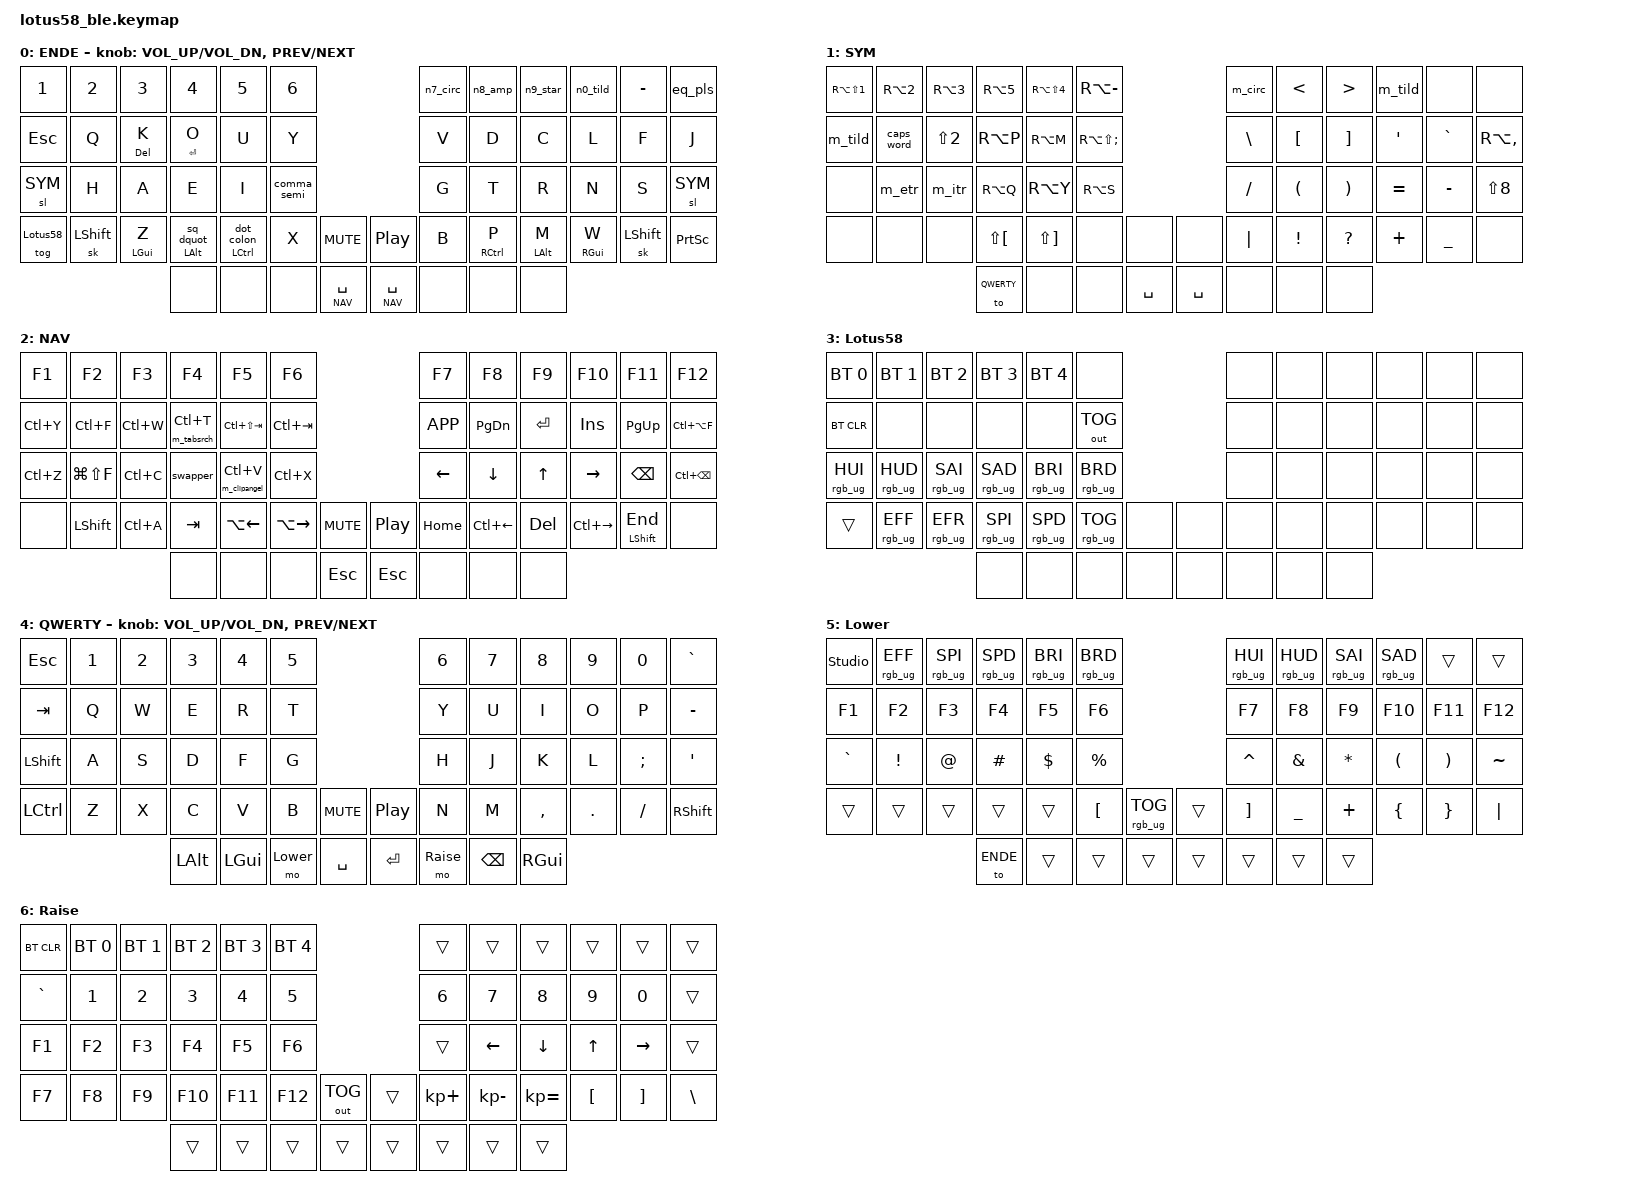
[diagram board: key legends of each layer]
// Copyright (c) 2026 Oscar Brandt
// SPDX-License-Identifier: MIT

#include <behaviors.dtsi>
#include <dt-bindings/zmk/keys.h>
#include <dt-bindings/zmk/bt.h> // Needed for Bluetooth keybinds.
#include <dt-bindings/zmk/rgb.h> // Needed for controlling the underglow LEDs.
#include <dt-bindings/zmk/outputs.h> // Needed to be able to switch between Bluetooth and USB for the output.

#define ENDE	0
#define SYM	1
#define NAV	2
#define Lotus58	3
#define QWERTY	4
#define Lower	5
#define Raise	6

#define HT_TERM   220
#define SPC_TERM  200

&sk {
    quick-release;
};

/*
&caps_word {
    continue-list = <UNDERSCORE MINUS>;
};
*/

/ {
	macros {
		m_sq: m_sq {
            		compatible = "zmk,behavior-macro";
            		#binding-cells = <0>;
            		wait-ms = <15>;
            		tap-ms = <10>;
            		bindings = <&kp SQT &kp SPACE>;
        	};

        	m_dquot: m_dquot {
            		compatible = "zmk,behavior-macro";
            		#binding-cells = <0>;
            		wait-ms = <15>;
            		tap-ms = <10>;
            		bindings = <&kp LS(SQT) &kp SPACE>;
        	};

        	m_etr: m_etr {
            		compatible = "zmk,behavior-macro";
            		#binding-cells = <0>;
            		wait-ms = <15>;
            		tap-ms = <10>;
            		bindings = <&kp LS(SQT) &kp E>;
        	};

        	m_etr_u: m_etr_u {
            		compatible = "zmk,behavior-macro";
            		#binding-cells = <0>;
            		wait-ms = <15>;
            		tap-ms = <10>;
            		bindings = <&kp LS(SQT) &kp LS(E)>;
        	};

		 m_itr: m_itr {
            		compatible = "zmk,behavior-macro";
            		#binding-cells = <0>;
            		wait-ms = <15>;
            		tap-ms = <10>;
            		bindings = <&kp LS(SQT) &kp I>;
        	};

        	m_itr_u: m_itr_u {
            		compatible = "zmk,behavior-macro";
            		#binding-cells = <0>;
            		wait-ms = <15>;
            		tap-ms = <10>;
            		bindings = <&kp LS(SQT) &kp LS(I)>;
        	};

        	m_circ: m_circ {
            		compatible = "zmk,behavior-macro";
            		#binding-cells = <0>;
            		wait-ms = <0>;
            		tap-ms = <10>;
            		bindings = <&kp LS(N6)>;
        	};

        	m_tild: m_tild {
            		compatible = "zmk,behavior-macro";
            		#binding-cells = <0>;
            		wait-ms = <0>;
            		tap-ms = <10>;
            		bindings = <&kp LS(GRAVE)>;
        	};

        	m_circ_lit: m_circ_lit {
            		compatible = "zmk,behavior-macro";
            		#binding-cells = <0>;
            		wait-ms = <15>;
            		tap-ms = <10>;
            		bindings = <&kp LS(N6) &kp SPACE>;
        	};

        	m_tild_lit: m_tild_lit {
            		compatible = "zmk,behavior-macro";
            		#binding-cells = <0>;
            		wait-ms = <15>;
            		tap-ms = <10>;
            		bindings = <&kp LS(GRAVE) &kp SPACE>;
        	};

        	m_tabsrch: m_tabsrch {
            		compatible = "zmk,behavior-macro";
            		#binding-cells = <0>;
            		wait-ms = <0>;
            		tap-ms = <10>;
            		bindings = <&kp LC(LS(A))>;
        	};

        	m_clipangel: m_clipangel {
            		compatible = "zmk,behavior-macro";
            		#binding-cells = <0>;
            		wait-ms = <0>;
            		tap-ms = <10>;
            		bindings = <&kp LC(LS(LA(V)))>;
        	};
	};

	behaviors {
		sq_dquot: sq_dquot {
            		compatible = "zmk,behavior-mod-morph";
            		#binding-cells = <0>;
            		bindings = <&m_sq>, <&m_dquot>;

            		mods = <(MOD_LSFT|MOD_RSFT)>;
        	};

        	spc_nav: spc_nav {
            		compatible = "zmk,behavior-hold-tap";
            		#binding-cells = <2>;
            		flavor = "hold-preferred";
            		tapping-term-ms = <SPC_TERM>;
            		bindings = <&mo>, <&kp>;
        	};

        	o_ret: o_ret {
            		compatible = "zmk,behavior-hold-tap";
            		#binding-cells = <2>;
            		flavor = "tap-preferred";
            		tapping-term-ms = <HT_TERM>;
            		bindings = <&kp>, <&kp>;
        	};

        	k_del: k_del {
            		compatible = "zmk,behavior-hold-tap";
            		#binding-cells = <2>;
            		flavor = "tap-preferred";
            		tapping-term-ms = <HT_TERM>;
            		bindings = <&kp>, <&kp>;
        	};

        	ht_qalt: ht_qalt {
            		compatible = "zmk,behavior-hold-tap";
            		#binding-cells = <2>;
            		flavor = "tap-preferred";
            		tapping-term-ms = <HT_TERM>;
            		bindings = <&kp>, <&sq_dquot>;
        	};

        	dot_ctl: dot_ctl {
            		compatible = "zmk,behavior-hold-tap";
            		#binding-cells = <2>;
            		flavor = "tap-preferred";
            		tapping-term-ms = <HT_TERM>;
            		bindings = <&kp>, <&dot_colon>;
        	};

        	end_sft: end_sft {
            		compatible = "zmk,behavior-hold-tap";
            		#binding-cells = <2>;
            		flavor = "tap-preferred";
            		tapping-term-ms = <HT_TERM>;
            		bindings = <&kp>, <&kp>;
        	};

        	mt_b: mt_b {
            		compatible = "zmk,behavior-hold-tap";
            		#binding-cells = <2>;
            		flavor = "balanced";
            		tapping-term-ms = <HT_TERM>;
            		bindings = <&kp>, <&kp>;
        	};

        	ht_newtab: ht_newtab {
            		compatible = "zmk,behavior-hold-tap";
            		#binding-cells = <2>;
            		flavor = "hold-preferred";
            		tapping-term-ms = <HT_TERM>;
            		bindings = <&m_tabsrch>, <&kp>;
        	};

        	ht_paste: ht_paste {
            		compatible = "zmk,behavior-hold-tap";
            		#binding-cells = <2>;
            		flavor = "hold-preferred";
            		tapping-term-ms = <HT_TERM>;
            		bindings = <&m_clipangel>, <&kp>;
        	};

        	n7_circ: n7_circ {
            		compatible = "zmk,behavior-mod-morph";
            		#binding-cells = <0>;
            		bindings = <&kp N7>, <&m_circ_lit>;

            		mods = <(MOD_LSFT|MOD_RSFT)>;
        	};

        	n0_tild: n0_tild {
            		compatible = "zmk,behavior-mod-morph";
            		#binding-cells = <0>;
            		bindings = <&kp N0>, <&m_tild_lit>;

            		mods = <(MOD_LSFT|MOD_RSFT)>;
        	};

        	// lt_hp: layer-tap, hold-preferred. The stock &lt behavior
        	// (app/dts/behaviors/layer_tap.dtsi) defaults to flavor =
        	// "tap-preferred", which only resolves to hold once the key has
        	// been held ALONE for the full tapping-term with nothing else
        	// pressed. That's the wrong flavor for "hold this key, then chord
        	// other keys while it's held" -- e.g. holding ESC to reach the
        	// mouse layer and immediately pressing a movement key -- since
        	// releasing before the term elapses (very easy to do) resolves as
        	// a bare tap, and the buffered keypress replays on whatever layer
        	// was active before, not the intended one. hold-preferred resolves
        	// to hold the moment another key is pressed, which is what this
        	// needs; it's the same flavor spc_nav already uses for the same
        	// kind of hold-a-key-then-chord pattern (SpaceFn -> NAV).

        	lt_hp: lt_hp {
        		compatible = "zmk,behavior-hold-tap";
        		#binding-cells = <2>;
        		flavor = "hold-preferred";
        		tapping-term-ms = <HT_TERM>;
        		bindings = <&mo>, <&kp>;
        	};

        	// mo_tog_hp: momentary-layer on hold, toggle-layer on tap. Takes two
        	// params (hold layer, tap layer) -- pass the same layer number for
        	// both, e.g. `&mo_tog_hp MOUSE_M MOUSE_M`, to get "hold for quick
        	// access, tap to latch it on". Same hold-preferred reasoning as
        	// lt_hp above: the point of holding this key is almost always to
        	// immediately chord it with another key on the target layer (e.g.
        	// hold + tap &mmv MOVE_LEFT), so hold must resolve the instant that
        	// second key is pressed rather than waiting out the full
        	// tapping-term alone. tap-preferred was considered and rejected for
        	// the same reason lt_hp isn't tap-preferred: it would swallow/
        	// misroute that chorded keypress on quick holds.

        	mo_tog_hp: mo_tog_hp {
        		compatible = "zmk,behavior-hold-tap";
        		#binding-cells = <2>;
        		flavor = "hold-preferred";
        		tapping-term-ms = <HT_TERM>;
        		bindings = <&mo>, <&tog>;
        	};

        	// comma_semi / dot_colon: same pattern, replacing ko_comma_semi /
        	// ko_dot_colon below. SEMI is a bare (unshifted) keycode, so masking
        	// the real Shift and sending it plain gives ";". COLON is already
        	// LS(SEMICOLON) -- confirmed directly from ZMK's keys.h -- so with
        	// the real Shift masked, its own embedded shift still gives ":".

        	comma_semi: comma_semi {
        		compatible = "zmk,behavior-mod-morph";
        		#binding-cells = <0>;
        		bindings = <&kp COMMA>, <&kp SEMI>;

        		mods = <(MOD_LSFT|MOD_RSFT)>;
        	};

        	dot_colon: dot_colon {
        		compatible = "zmk,behavior-mod-morph";
        		#binding-cells = <0>;
        		bindings = <&kp DOT>, <&kp COLON>;

        		mods = <(MOD_LSFT|MOD_RSFT)>;
        	};

        	// n8_amp / n9_star: same pattern as n7_circ / n0_tild above, bound
        	// directly at the key position instead of going through the
        	// key_overrides node. AMPS = LS(N7) and ASTRK = LS(N8) already carry
        	// their own explicit shift, so no macro/unlatch step is needed here
        	// the way it is for the dead-key circumflex/tilde.

        	n8_amp: n8_amp {
        		compatible = "zmk,behavior-mod-morph";
        		#binding-cells = <0>;
        		bindings = <&kp N8>, <&kp AMPS>;

        		mods = <(MOD_LSFT|MOD_RSFT)>;
		};

        	n9_star: n9_star {
        		compatible = "zmk,behavior-mod-morph";
        		#binding-cells = <0>;
        		bindings = <&kp N9>, <&kp ASTRK>;

        		mods = <(MOD_LSFT|MOD_RSFT)>;
        	};

        	// eq_pls: mirrors QMK's KC_EQL case. PLUS = LS(EQUAL) already carries
        	// its own shift, so unshifted taps correctly send "+". On a shifted
        	// tap the mod-morph masks the real Shift before invoking the second
        	// binding, so &kp EQUAL goes out bare -- i.e. "=" -- instead of
        	// stacking with the still-held physical Shift. ENDE-only, matching
        	// the QMK comment that this swap must not leak onto SYM/NAV.

        	eq_pls: eq_pls {
        		compatible = "zmk,behavior-mod-morph";
        		#binding-cells = <0>;
        		bindings = <&kp PLUS>, <&kp EQUAL>;

        		mods = <(MOD_LSFT|MOD_RSFT)>;
        	};

        	// swapper: real Alt-Tab, matching the Kanata (multi (layer-while-held
        	// navigation) + virtualkey alt) / (macro press-virtualkey alt ... tab)
        	// construct. Requires the zmk-tri-state module -- see the header
        	// comment at the top of this file for the west.yml entry needed.
        	// First tap: registers/holds Alt (via &kt, a toggle) and taps Tab.
        	// Each subsequent tap while still active: taps Tab only, Alt stays
        	// held throughout -- this is what keeps the Windows switcher open.
        	// The moment the NAV layer deactivates (i.e. Space is released),
        	// that layer change is what fires the third (interrupt) binding,
        	// which is &kt LALT again -- toggling Alt back off. No separate
        	// release-safety-net logic is needed the way QMK's
        	// layer_state_set_user had one: tri-state's own interrupt handling
        	// covers it.
        	// The configuration has been augmented to intercept and ignore the navigation
        	// layer and key positions 14, 16, 17, 30-33, and 40-41 so multi-key operations
        	// do not break the Alt state.

        	swapper: swapper {
        		compatible = "zmk,behavior-tri-state";
        		#binding-cells = <0>;
        		bindings = <&kt LALT>, <&kp TAB>, <&kt LALT>;

        		ignored-layers = <NAV>;
        		ignored-key-positions = <14 16 17 30 31 32 33 40 41>;
        	};
	};

	combos {
		compatible = "zmk,combos";

        	combo_dcl {
        		timeout-ms = <50>;
        		key-positions = <19 20 21>;
        		bindings = <&kp RET>;
        		layers = <0>;
        	};
	};

	keymap {
		compatible = "zmk,keymap";

		anymak_end {
			display-name = "ENDE";
			bindings = <
				&kp N1       &kp N2    &kp N3       &kp N4          &kp N5           &kp N6                                              &n7_circ &n8_amp       &n9_star     &n0_tild     &kp MINUS &eq_pls
				&kp ESC      &kp Q     &k_del DEL K &o_ret RET O    &kp U            &kp Y                                               &kp V    &kp D         &kp C        &kp L        &kp F     &kp J
				&sl SYM      &kp H     &kp A        &kp E           &kp I            &comma_semi                                         &kp G    &kp T         &kp R        &kp N        &kp S     &sl SYM
				&tog Lotus58 &sk LSHFT &mt_b LGUI Z &ht_qalt LALT 0 &dot_ctl LCTRL 0 &kp X       &kp C_MUTE           &kp C_PP           &kp B    &mt_b RCTRL P &mt_b LALT M &mt_b RGUI W &sk LSHFT &kp PSCRN
				                                    &none           &none            &none       &spc_nav NAV SPACE   &spc_nav NAV SPACE &none    &none         &none
			>;
			sensor-bindings = <
				&inc_dec_kp C_VOL_UP C_VOL_DN
				&inc_dec_kp C_PREV C_NEXT
			>;
		};

		anymak_symbol {
			display-name = "SYM";
			bindings = <
				&kp RA(LS(N1)) &kp RA(N2) &kp RA(N3) &kp RA(N5)   &kp RA(LS(N4)) &kp RA(MINUS)                           &m_circ  &kp LT   &kp GT    &m_tild   &none     &none
				&m_tild        &caps_word &kp LS(N2) &kp RA(P)    &kp RA(M)      &kp RA(LS(SEMI))                        &kp BSLH &kp LBKT &kp RBKT  &kp SQT   &kp GRAVE &kp RA(COMMA)
				&none          &m_etr     &m_itr     &kp RA(Q)    &kp RA(Y)      &kp RA(S)                               &kp FSLH &kp LPAR &kp RPAR  &kp EQUAL &kp MINUS &kp LS(N8)
				&none          &none      &none      &kp LS(LBKT) &kp LS(RBKT)   &none            &none        &none     &kp PIPE &kp EXCL &kp QMARK &kp PLUS  &kp UNDER &none
				                                     &to QWERTY   &none          &none            &kp SPACE    &kp SPACE &none    &none    &none
			>;
		};

		anymak_navigation {
			display-name = "NAV";
			bindings = <
				&kp F1    &kp F2        &kp F3    &kp F4             &kp F5            &kp F6                              &kp F7    &kp F8       &kp F9  &kp F10       &kp F11            &kp F12
				&kp LC(Y) &kp LC(F)     &kp LC(W) &ht_newtab 0 LC(T) &kp LC(LS(TAB))   &kp LC(TAB)                         &kp K_APP &kp PG_DN    &kp RET &kp INS       &kp PG_UP          &kp LC(LA(F))
				&kp LC(Z) &kp LG(LS(F)) &kp LC(C) &swapper           &ht_paste 0 LC(V) &kp LC(X)                           &kp LEFT  &kp DOWN     &kp UP  &kp RIGHT     &kp BSPC           &kp LC(BSPC)
				&none     &kp LSHFT     &kp LC(A) &kp TAB            &kp LA(LEFT)      &kp LA(RIGHT) &kp C_MUTE   &kp C_PP &kp HOME  &kp LC(LEFT) &kp DEL &kp LC(RIGHT) &end_sft LSHFT END &none
				                                  &none              &none             &none         &kp ESC      &kp ESC  &none     &none        &none
			>;
		};

		lotus58 {
			display-name = "Lotus58";
			bindings = <
				&bt BT_SEL 0    &bt BT_SEL 1    &bt BT_SEL 2    &bt BT_SEL 3    &bt BT_SEL 4    &none                         &none &none &none &none &none &none
				&bt BT_CLR      &none           &none           &none           &none           &out OUT_TOG                  &none &none &none &none &none &none
				&rgb_ug RGB_HUI &rgb_ug RGB_HUD &rgb_ug RGB_SAI &rgb_ug RGB_SAD &rgb_ug RGB_BRI &rgb_ug RGB_BRD               &none &none &none &none &none &none
				&trans          &rgb_ug RGB_EFF &rgb_ug RGB_EFR &rgb_ug RGB_SPI &rgb_ug RGB_SPD &rgb_ug RGB_TOG &none   &none &none &none &none &none &none &none
				                                                &none           &none           &none           &none   &none &none &none &none
			>;
		};



		qwerty {
			display-name = "QWERTY";
			bindings = <
				&kp ESC   &kp N1 &kp N2 &kp N3   &kp N4   &kp N5                           &kp N6    &kp N7   &kp N8    &kp N9  &kp N0   &kp GRAVE
				&kp TAB   &kp Q  &kp W  &kp E    &kp R    &kp T                            &kp Y     &kp U    &kp I     &kp O   &kp P    &kp MINUS
				&kp LSHFT &kp A  &kp S  &kp D    &kp F    &kp G                            &kp H     &kp J    &kp K     &kp L   &kp SEMI &kp SQT
				&kp LCTRL &kp Z  &kp X  &kp C    &kp V    &kp B     &kp C_MUTE   &kp C_PP  &kp N     &kp M    &kp COMMA &kp DOT &kp FSLH &kp RSHFT
				                        &kp LALT &kp LGUI &mo Lower &kp SPACE    &kp ENTER &mo Raise &kp BSPC &kp RGUI
			>;
			sensor-bindings = <
				&inc_dec_kp C_VOL_UP C_VOL_DN
				&inc_dec_kp C_PREV C_NEXT
			>;
		};

		lower {
			display-name = "Lower";
			bindings = <
				&studio_unlock &rgb_ug RGB_EFF &rgb_ug RGB_SPI &rgb_ug RGB_SPD &rgb_ug RGB_BRI &rgb_ug RGB_BRD                             &rgb_ug RGB_HUI &rgb_ug RGB_HUD &rgb_ug RGB_SAI &rgb_ug RGB_SAD &trans   &trans
				&kp F1         &kp F2          &kp F3          &kp F4          &kp F5          &kp F6                                      &kp F7          &kp F8          &kp F9          &kp F10         &kp F11  &kp F12
				&kp GRAVE      &kp EXCL        &kp AT          &kp HASH        &kp DLLR        &kp PRCNT                                   &kp CARET       &kp AMPS        &kp ASTRK       &kp LPAR        &kp RPAR &kp TILDE
				&trans         &trans          &trans          &trans          &trans          &kp LBKT        &rgb_ug RGB_TOG   &trans    &kp RBKT        &kp UNDER       &kp PLUS        &kp LBRC        &kp RBRC &kp PIPE
				                                               &to ENDE        &trans          &trans          &trans            &trans    &trans          &trans          &trans
			>;
		};

		raise {
			display-name = "Raise";
			bindings = <
				&bt BT_CLR &bt BT_SEL 0 &bt BT_SEL 1 &bt BT_SEL 2  &bt BT_SEL 3  &bt BT_SEL 4                       &trans      &trans       &trans       &trans   &trans    &trans
				&kp GRAVE  &kp N1       &kp N2       &kp N3        &kp N4        &kp N5                             &kp N6      &kp N7       &kp N8       &kp N9   &kp N0    &trans
				&kp F1     &kp F2       &kp F3       &kp F4        &kp F5        &kp F6                             &trans      &kp LEFT     &kp DOWN     &kp UP   &kp RIGHT &trans
				&kp F7     &kp F8       &kp F9       &kp F10       &kp F11       &kp F12      &out OUT_TOG   &trans &kp KP_PLUS &kp KP_MINUS &kp KP_EQUAL &kp LBKT &kp RBKT  &kp BSLH
				                                     &trans        &trans        &trans       &trans         &trans &trans      &trans       &trans
			>;
		};
	};
};
